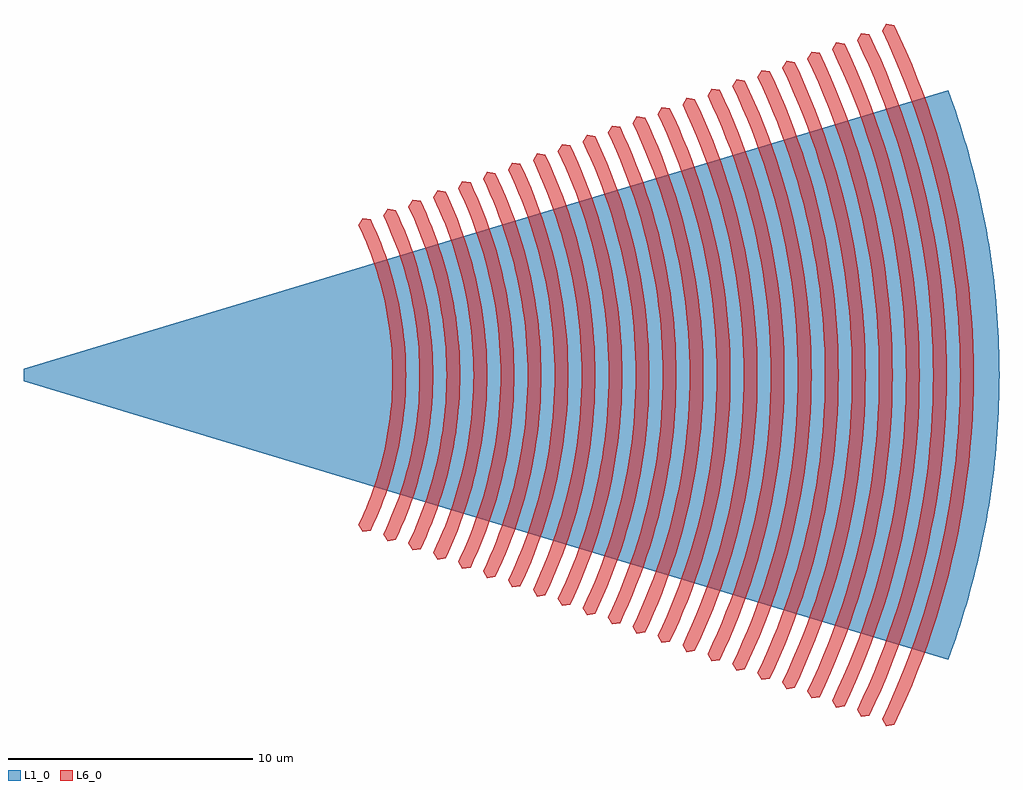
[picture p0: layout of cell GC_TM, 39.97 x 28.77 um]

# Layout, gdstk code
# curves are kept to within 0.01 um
import gdstk
lib = gdstk.Library(unit=1e-6, precision=1e-09)
def P(c, l, *ps):  # polygons
    for p in ps: c.add(gdstk.Polygon(p, *l))
L1_0 = (1, 0)
L6_0 = (6, 0)

gc_tm = lib.new_cell('GC_TM')
P(gc_tm, L1_0, [(37.87,-11.658),(0,-0.25),(0,0.25),(37.87,11.658),(38.359,10.249),(38.784,8.822),(39.146,7.377),(39.442,5.918),(39.673,4.449),(39.839,2.97),(39.938,1.486),(39.972,0),(39.938,-1.486),(39.839,-2.97),(39.673,-4.449),(39.442,-5.918),(39.146,-7.377),(38.784,-8.822),(38.359,-10.249)])
P(gc_tm, L6_0, [(13.893,-6.422),(13.719,-6.136),(14.03,-5.438),(14.384,-4.485),(14.67,-3.511),(14.838,-2.77),(14.966,-2.02),(15.054,-1.264),(15.102,-0.506),(15.11,0),(15.102,0.506),(15.054,1.264),(14.966,2.02),(14.838,2.77),(14.67,3.511),(14.384,4.485),(14.03,5.438),(13.719,6.136),(13.893,6.422),(14.223,6.372),(14.442,5.894),(14.738,5.159),(14.994,4.41),(15.142,3.904),(15.384,2.878),(15.518,2.098),(15.63,1.052),(15.668,0),(15.63,-1.052),(15.518,-2.098),(15.384,-2.878),(15.142,-3.904),(14.994,-4.41),(14.738,-5.159),(14.442,-5.894),(14.223,-6.372)],
  [(14.914,-6.802),(14.74,-6.516),(15.07,-5.774),(15.447,-4.762),(15.749,-3.728),(15.928,-2.941),(16.064,-2.144),(16.158,-1.343),(16.208,-0.537),(16.217,0),(16.208,0.537),(16.158,1.343),(16.064,2.144),(15.928,2.941),(15.749,3.728),(15.447,4.762),(15.07,5.774),(14.74,6.516),(14.914,6.802),(15.244,6.752),(15.476,6.244),(15.789,5.465),(16.061,4.672),(16.218,4.136),(16.356,3.595),(16.474,3.049),(16.616,2.224),(16.735,1.115),(16.775,0),(16.735,-1.115),(16.616,-2.224),(16.474,-3.049),(16.356,-3.595),(16.218,-4.136),(16.061,-4.672),(15.789,-5.465),(15.476,-6.244),(15.244,-6.752)],
  [(15.936,-7.181),(15.761,-6.896),(16.111,-6.11),(16.509,-5.039),(16.679,-4.496),(16.829,-3.945),(17.018,-3.112),(17.162,-2.269),(17.261,-1.421),(17.315,-0.569),(17.324,0),(17.315,0.569),(17.261,1.421),(17.162,2.269),(17.018,3.112),(16.829,3.945),(16.679,4.496),(16.509,5.039),(16.111,6.11),(15.761,6.896),(15.936,7.181),(16.267,7.13),(16.625,6.322),(16.841,5.772),(17.128,4.934),(17.294,4.367),(17.504,3.509),(17.619,2.93),(17.714,2.349),(17.84,1.177),(17.871,0.589),(17.882,0),(17.871,-0.589),(17.84,-1.177),(17.714,-2.349),(17.619,-2.93),(17.504,-3.509),(17.294,-4.367),(17.128,-4.934),(16.841,-5.772),(16.625,-6.322),(16.267,-7.13)],
  [(16.957,-7.56),(16.782,-7.275),(17.034,-6.723),(17.263,-6.166),(17.571,-5.317),(17.75,-4.743),(17.909,-4.162),(18.108,-3.283),(18.26,-2.394),(18.365,-1.499),(18.421,-0.6),(18.431,0),(18.421,0.6),(18.365,1.499),(18.26,2.394),(18.108,3.283),(17.909,4.162),(17.75,4.743),(17.571,5.317),(17.263,6.166),(17.034,6.723),(16.782,7.275),(16.957,7.56),(17.288,7.509),(17.666,6.658),(17.893,6.079),(18.195,5.197),(18.37,4.601),(18.591,3.695),(18.712,3.087),(18.812,2.474),(18.889,1.858),(18.944,1.24),(18.977,0.62),(18.989,0),(18.977,-0.62),(18.944,-1.24),(18.889,-1.858),(18.812,-2.474),(18.712,-3.087),(18.591,-3.695),(18.37,-4.601),(18.195,-5.197),(17.893,-6.079),(17.666,-6.658),(17.288,-7.509)],
  [(17.978,-7.939),(17.804,-7.653),(18.067,-7.073),(18.309,-6.487),(18.633,-5.594),(18.822,-4.99),(18.989,-4.379),(19.199,-3.454),(19.358,-2.52),(19.468,-1.577),(19.528,-0.631),(19.538,0),(19.528,0.631),(19.468,1.577),(19.358,2.52),(19.199,3.454),(18.989,4.379),(18.822,4.99),(18.633,5.594),(18.309,6.487),(18.067,7.073),(17.804,7.653),(17.978,7.939),(18.308,7.889),(18.579,7.295),(18.944,6.386),(19.262,5.459),(19.445,4.833),(19.606,4.2),(19.745,3.562),(19.91,2.598),(19.991,1.952),(20.049,1.302),(20.084,0.651),(20.096,0),(20.084,-0.651),(20.049,-1.302),(19.991,-1.952),(19.91,-2.598),(19.745,-3.562),(19.606,-4.2),(19.445,-4.833),(19.262,-5.459),(18.944,-6.386),(18.579,-7.295),(18.308,-7.889)],
  [(18.999,-8.318),(18.825,-8.032),(19.101,-7.424),(19.356,-6.809),(19.695,-5.871),(19.893,-5.237),(20.068,-4.596),(20.289,-3.625),(20.456,-2.644),(20.572,-1.655),(20.634,-0.663),(20.645,0),(20.634,0.663),(20.572,1.655),(20.456,2.644),(20.289,3.625),(20.068,4.596),(19.893,5.237),(19.695,5.871),(19.356,6.809),(19.101,7.424),(18.825,8.032),(18.999,8.318),(19.329,8.268),(19.613,7.646),(19.996,6.693),(20.329,5.721),(20.521,5.065),(20.69,4.402),(20.835,3.733),(21.008,2.724),(21.093,2.045),(21.154,1.365),(21.19,0.683),(21.203,0),(21.19,-0.683),(21.154,-1.365),(21.093,-2.045),(21.008,-2.724),(20.835,-3.733),(20.69,-4.402),(20.521,-5.065),(20.329,-5.721),(19.996,-6.693),(19.613,-7.646),(19.329,-8.268)],
  [(20.02,-8.697),(19.845,-8.412),(20.272,-7.454),(20.526,-6.805),(20.757,-6.148),(21.059,-5.15),(21.231,-4.476),(21.379,-3.797),(21.554,-2.769),(21.675,-1.734),(21.725,-1.041),(21.752,0),(21.725,1.041),(21.675,1.734),(21.554,2.769),(21.379,3.797),(21.231,4.476),(21.059,5.15),(20.757,6.148),(20.526,6.805),(20.272,7.454),(19.845,8.412),(20.02,8.697),(20.351,8.646),(20.501,8.323),(20.92,7.334),(21.17,6.662),(21.499,5.642),(21.688,4.951),(21.852,4.255),(21.992,3.553),(22.153,2.494),(22.259,1.427),(22.296,0.714),(22.31,0),(22.296,-0.714),(22.259,-1.427),(22.153,-2.494),(21.992,-3.553),(21.852,-4.255),(21.688,-4.951),(21.499,-5.642),(21.17,-6.662),(20.92,-7.334),(20.501,-8.323),(20.351,-8.646)],
  [(21.041,-9.076),(20.867,-8.79),(21.312,-7.79),(21.577,-7.112),(21.819,-6.425),(22.036,-5.731),(22.228,-5.03),(22.469,-3.968),(22.652,-2.894),(22.779,-1.812),(22.847,-0.725),(22.859,0),(22.847,0.725),(22.779,1.812),(22.652,2.894),(22.469,3.968),(22.228,5.03),(22.036,5.731),(21.819,6.425),(21.577,7.112),(21.312,7.79),(20.867,8.79),(21.041,9.076),(21.371,9.026),(21.68,8.347),(21.966,7.656),(22.227,6.954),(22.462,6.246),(22.768,5.168),(22.939,4.441),(23.085,3.71),(23.253,2.603),(23.364,1.49),(23.403,0.745),(23.417,0),(23.403,-0.745),(23.364,-1.49),(23.253,-2.603),(23.085,-3.71),(22.939,-4.441),(22.768,-5.168),(22.462,-6.246),(22.227,-6.954),(21.966,-7.656),(21.68,-8.347),(21.371,-9.026)],
  [(22.062,-9.455),(21.888,-9.169),(22.352,-8.126),(22.629,-7.419),(22.881,-6.703),(23.108,-5.979),(23.308,-5.247),(23.559,-4.139),(23.75,-3.018),(23.883,-1.89),(23.953,-0.756),(23.966,0),(23.953,0.756),(23.883,1.89),(23.75,3.018),(23.559,4.139),(23.308,5.247),(23.108,5.979),(22.881,6.703),(22.629,7.419),(22.352,8.126),(21.888,9.169),(22.062,9.455),(22.392,9.405),(22.715,8.697),(23.012,7.977),(23.284,7.246),(23.529,6.508),(23.848,5.385),(24.026,4.628),(24.178,3.865),(24.354,2.713),(24.468,1.553),(24.509,0.776),(24.524,0),(24.509,-0.776),(24.468,-1.553),(24.354,-2.713),(24.178,-3.865),(24.026,-4.628),(23.848,-5.385),(23.529,-6.508),(23.284,-7.246),(23.012,-7.977),(22.715,-8.697),(22.392,-9.405)],
  [(23.083,-9.834),(22.909,-9.548),(23.238,-8.826),(23.54,-8.095),(23.944,-6.98),(24.179,-6.226),(24.387,-5.464),(24.649,-4.31),(24.848,-3.143),(24.986,-1.968),(25.06,-0.788),(25.073,0),(25.06,0.788),(24.986,1.968),(24.848,3.143),(24.649,4.31),(24.387,5.464),(24.179,6.226),(23.944,6.98),(23.54,8.095),(23.238,8.826),(22.909,9.548),(23.083,9.834),(23.413,9.784),(23.748,9.048),(24.058,8.299),(24.341,7.539),(24.596,6.77),(24.927,5.602),(25.113,4.814),(25.271,4.021),(25.454,2.822),(25.573,1.615),(25.616,0.808),(25.631,0),(25.616,-0.808),(25.573,-1.615),(25.454,-2.822),(25.271,-4.021),(25.113,-4.814),(24.927,-5.602),(24.596,-6.77),(24.341,-7.539),(24.058,-8.299),(23.748,-9.048),(23.413,-9.784)],
  [(24.104,-10.213),(23.93,-9.927),(24.433,-8.798),(24.733,-8.032),(25.006,-7.257),(25.362,-6.079),(25.565,-5.283),(25.74,-4.481),(25.947,-3.268),(26.09,-2.046),(26.148,-1.229),(26.18,0),(26.148,1.229),(26.09,2.046),(25.947,3.268),(25.74,4.481),(25.565,5.283),(25.362,6.079),(25.006,7.257),(24.733,8.032),(24.433,8.798),(23.93,9.927),(24.104,10.213),(24.434,10.163),(24.782,9.398),(25.255,8.226),(25.534,7.433),(25.785,6.63),(26.007,5.819),(26.286,4.589),(26.435,3.763),(26.554,2.931),(26.678,1.678),(26.722,0.839),(26.738,0),(26.722,-0.839),(26.678,-1.678),(26.554,-2.931),(26.435,-3.763),(26.286,-4.589),(26.007,-5.819),(25.785,-6.63),(25.534,-7.433),(25.255,-8.226),(24.782,-9.398),(24.434,-10.163)],
  [(25.125,-10.592),(24.951,-10.306),(25.473,-9.134),(25.784,-8.339),(26.068,-7.534),(26.322,-6.721),(26.547,-5.898),(26.83,-4.652),(27.045,-3.394),(27.193,-2.124),(27.273,-0.85),(27.287,0),(27.273,0.85),(27.193,2.124),(27.045,3.394),(26.83,4.652),(26.547,5.898),(26.322,6.721),(26.068,7.534),(25.784,8.339),(25.473,9.134),(24.951,10.306),(25.125,10.592),(25.455,10.542),(25.817,9.749),(26.15,8.942),(26.455,8.123),(26.73,7.295),(27.087,6.036),(27.376,4.76),(27.531,3.903),(27.654,3.041),(27.783,1.74),(27.829,0.87),(27.845,0),(27.829,-0.87),(27.783,-1.74),(27.654,-3.041),(27.531,-3.903),(27.376,-4.76),(27.087,-6.036),(26.73,-7.295),(26.455,-8.123),(26.15,-8.942),(25.817,-9.749),(25.455,-10.542)],
  [(26.146,-10.972),(25.972,-10.686),(26.513,-9.47),(26.836,-8.646),(27.13,-7.811),(27.394,-6.968),(27.627,-6.115),(27.92,-4.823),(28.143,-3.517),(28.297,-2.203),(28.379,-0.882),(28.394,0),(28.379,0.882),(28.297,2.203),(28.143,3.517),(27.92,4.823),(27.627,6.115),(27.394,6.968),(27.13,7.811),(26.836,8.646),(26.513,9.47),(25.972,10.686),(26.146,10.972),(26.476,10.922),(26.851,10.099),(27.196,9.263),(27.512,8.414),(27.797,7.557),(28.167,6.253),(28.374,5.374),(28.55,4.488),(28.754,3.15),(28.887,1.803),(28.935,0.902),(28.952,0),(28.935,-0.902),(28.887,-1.803),(28.754,-3.15),(28.55,-4.488),(28.374,-5.374),(28.167,-6.253),(27.797,-7.557),(27.512,-8.414),(27.196,-9.263),(26.851,-10.099),(26.476,-10.922)],
  [(27.167,-11.351),(26.993,-11.065),(27.375,-10.228),(27.724,-9.38),(28.192,-8.089),(28.589,-6.775),(28.816,-5.888),(29.01,-4.995),(29.241,-3.643),(29.4,-2.281),(29.486,-0.913),(29.501,0),(29.486,0.913),(29.4,2.281),(29.241,3.643),(29.01,4.995),(28.816,5.888),(28.589,6.775),(28.192,8.089),(27.724,9.38),(27.375,10.228),(26.993,11.065),(27.167,11.351),(27.497,11.301),(27.885,10.45),(28.242,9.584),(28.569,8.707),(28.864,7.819),(29.246,6.47),(29.556,5.103),(29.722,4.184),(29.854,3.259),(29.992,1.865),(30.042,0.933),(30.059,0),(30.042,-0.933),(29.992,-1.865),(29.854,-3.259),(29.722,-4.184),(29.556,-5.103),(29.246,-6.47),(28.864,-7.819),(28.569,-8.707),(28.242,-9.584),(27.885,-10.45),(27.497,-11.301)],
  [(28.189,-11.73),(28.014,-11.445),(28.593,-10.142),(28.939,-9.26),(29.254,-8.366),(29.665,-7.007),(29.899,-6.09),(30.1,-5.166),(30.339,-3.767),(30.504,-2.359),(30.592,-0.944),(30.608,0),(30.592,0.944),(30.504,2.359),(30.339,3.767),(30.1,5.166),(29.899,6.09),(29.665,7.007),(29.254,8.366),(28.939,9.26),(28.593,10.142),(28.014,11.445),(28.189,11.73),(28.52,11.679),(28.92,10.8),(29.288,9.906),(29.626,9),(30.071,7.619),(30.326,6.687),(30.548,5.747),(30.736,4.8),(30.955,3.369),(31.097,1.928),(31.148,0.964),(31.166,0),(31.148,-0.964),(31.097,-1.928),(30.955,-3.369),(30.736,-4.8),(30.548,-5.747),(30.326,-6.687),(30.071,-7.619),(29.626,-9),(29.288,-9.906),(28.92,-10.8),(28.52,-11.679)],
  [(29.21,-12.109),(29.036,-11.823),(29.633,-10.478),(29.991,-9.566),(30.316,-8.643),(30.741,-7.239),(30.983,-6.292),(31.19,-5.337),(31.437,-3.892),(31.607,-2.437),(31.698,-0.976),(31.715,0),(31.698,0.976),(31.607,2.437),(31.437,3.892),(31.19,5.337),(30.983,6.292),(30.741,7.239),(30.316,8.643),(29.991,9.566),(29.633,10.478),(29.036,11.823),(29.21,12.109),(29.54,12.059),(30.149,10.69),(30.513,9.76),(30.844,8.819),(31.142,7.866),(31.406,6.904),(31.635,5.933),(31.829,4.955),(32.055,3.478),(32.202,1.991),(32.254,0.996),(32.273,0),(32.254,-0.996),(32.202,-1.991),(32.055,-3.478),(31.829,-4.955),(31.635,-5.933),(31.406,-6.904),(31.142,-7.866),(30.844,-8.819),(30.513,-9.76),(30.149,-10.69),(29.54,-12.059)],
  [(30.231,-12.488),(30.056,-12.203),(30.477,-11.279),(30.863,-10.345),(31.378,-8.92),(31.817,-7.471),(32.178,-6.002),(32.459,-4.515),(32.661,-3.017),(32.782,-1.51),(32.822,0),(32.782,1.51),(32.661,3.017),(32.459,4.515),(32.178,6.002),(31.817,7.471),(31.378,8.92),(30.863,10.345),(30.477,11.279),(30.056,12.203),(30.231,12.488),(30.562,12.437),(31.188,11.026),(31.565,10.067),(31.906,9.096),(32.214,8.113),(32.486,7.121),(32.722,6.12),(32.922,5.112),(33.155,3.587),(33.306,2.053),(33.361,1.027),(33.38,0),(33.361,-1.027),(33.306,-2.053),(33.155,-3.587),(32.922,-5.112),(32.722,-6.12),(32.486,-7.121),(32.214,-8.113),(31.906,-9.096),(31.565,-10.067),(31.188,-11.026),(30.562,-12.437)],
  [(31.252,-12.867),(31.078,-12.581),(31.51,-11.63),(31.909,-10.666),(32.44,-9.197),(32.892,-7.704),(33.15,-6.695),(33.371,-5.679),(33.633,-4.142),(33.814,-2.593),(33.888,-1.557),(33.929,0),(33.888,1.557),(33.814,2.593),(33.633,4.142),(33.371,5.679),(33.15,6.695),(32.892,7.704),(32.44,9.197),(31.909,10.666),(31.51,11.63),(31.078,12.581),(31.252,12.867),(31.582,12.817),(32.022,11.852),(32.228,11.362),(32.616,10.374),(32.968,9.373),(33.285,8.36),(33.565,7.338),(33.917,5.787),(34.105,4.745),(34.255,3.697),(34.317,3.171),(34.411,2.116),(34.467,1.058),(34.487,0),(34.467,-1.058),(34.411,-2.116),(34.317,-3.171),(34.255,-3.697),(34.105,-4.745),(33.917,-5.787),(33.565,-7.338),(33.285,-8.36),(32.968,-9.373),(32.616,-10.374),(32.228,-11.362),(32.022,-11.852),(31.582,-12.817)],
  [(32.273,-13.246),(32.099,-12.96),(32.544,-11.98),(32.955,-10.988),(33.503,-9.474),(33.968,-7.935),(34.352,-6.375),(34.651,-4.796),(34.865,-3.204),(34.918,-2.672),(34.994,-1.604),(35.018,-1.07),(35.036,0),(35.018,1.07),(34.994,1.604),(34.918,2.672),(34.865,3.204),(34.651,4.796),(34.352,6.375),(33.968,7.935),(33.503,9.474),(32.955,10.988),(32.544,11.98),(32.099,12.96),(32.273,13.246),(32.603,13.196),(33.056,12.202),(33.268,11.698),(33.668,10.681),(34.031,9.65),(34.356,8.608),(34.645,7.555),(34.896,6.493),(35.007,5.958),(35.201,4.886),(35.355,3.806),(35.419,3.264),(35.516,2.178),(35.574,1.09),(35.594,0),(35.574,-1.09),(35.516,-2.178),(35.419,-3.264),(35.355,-3.806),(35.201,-4.886),(35.007,-5.958),(34.896,-6.493),(34.645,-7.555),(34.356,-8.608),(34.031,-9.65),(33.668,-10.681),(33.268,-11.698),(33.056,-12.202),(32.603,-13.196)],
  [(33.294,-13.625),(33.12,-13.339),(33.355,-12.836),(33.795,-11.822),(34.198,-10.794),(34.565,-9.752),(34.894,-8.699),(35.044,-8.167),(35.317,-7.099),(35.439,-6.561),(35.746,-4.936),(35.967,-3.298),(36.021,-2.75),(36.099,-1.651),(36.139,-0.55),(36.143,0),(36.139,0.55),(36.099,1.651),(36.065,2.201),(35.967,3.298),(35.746,4.936),(35.439,6.561),(35.317,7.099),(35.044,8.167),(34.894,8.699),(34.565,9.752),(34.198,10.794),(33.795,11.822),(33.355,12.836),(33.12,13.339),(33.294,13.625),(33.624,13.575),(34.309,12.034),(34.72,10.988),(35.093,9.928),(35.428,8.855),(35.725,7.772),(35.859,7.227),(36.097,6.13),(36.296,5.026),(36.455,3.915),(36.521,3.358),(36.621,2.241),(36.68,1.121),(36.701,0),(36.68,-1.121),(36.621,-2.241),(36.521,-3.358),(36.455,-3.915),(36.296,-5.026),(36.097,-6.13),(35.859,-7.227),(35.725,-7.772),(35.428,-8.855),(35.093,-9.928),(34.72,-10.988),(34.309,-12.034),(33.624,-13.575)],
  [(34.315,-14.004),(34.141,-13.718),(34.835,-12.158),(35.249,-11.1),(35.627,-10.029),(36.12,-8.399),(36.526,-6.748),(36.747,-5.636),(36.842,-5.077),(37.004,-3.955),(37.069,-3.392),(37.125,-2.828),(37.205,-1.698),(37.231,-1.132),(37.25,0),(37.246,0.566),(37.205,1.698),(37.125,2.828),(37.069,3.392),(37.004,3.955),(36.842,5.077),(36.747,5.636),(36.526,6.748),(36.12,8.399),(35.627,10.029),(35.249,11.1),(34.835,12.158),(34.141,13.718),(34.315,14.004),(34.645,13.954),(34.889,13.431),(35.349,12.37),(35.771,11.294),(36.155,10.205),(36.499,9.103),(36.805,7.989),(37.07,6.866),(37.295,5.734),(37.479,4.596),(37.556,4.025),(37.623,3.452),(37.725,2.303),(37.787,1.152),(37.808,0),(37.787,-1.152),(37.761,-1.728),(37.679,-2.878),(37.556,-4.025),(37.479,-4.596),(37.295,-5.734),(37.07,-6.866),(36.805,-7.989),(36.499,-9.103),(36.155,-10.205),(35.771,-11.294),(35.349,-12.37),(34.889,-13.431),(34.645,-13.954)],
  [(35.336,-14.383),(35.162,-14.097),(35.41,-13.566),(35.875,-12.494),(36.301,-11.407),(36.689,-10.306),(37.037,-9.193),(37.195,-8.632),(37.345,-8.068),(37.613,-6.934),(37.84,-5.791),(37.938,-5.218),(38.104,-4.064),(38.171,-3.486),(38.228,-2.906),(38.311,-1.745),(38.353,-0.582),(38.357,0),(38.353,0.582),(38.311,1.745),(38.228,2.906),(38.171,3.486),(38.104,4.064),(37.938,5.218),(37.84,5.791),(37.613,6.934),(37.345,8.068),(37.195,8.632),(37.037,9.193),(36.689,10.306),(36.301,11.407),(35.875,12.494),(35.41,13.566),(35.162,14.097),(35.336,14.383),(35.666,14.333),(36.157,13.254),(36.389,12.706),(36.823,11.601),(37.217,10.482),(37.571,9.349),(37.885,8.206),(38.157,7.052),(38.388,5.891),(38.488,5.306),(38.656,4.134),(38.725,3.546),(38.83,2.366),(38.893,1.183),(38.915,0),(38.893,-1.183),(38.83,-2.366),(38.725,-3.546),(38.656,-4.134),(38.488,-5.306),(38.388,-5.891),(38.157,-7.052),(37.885,-8.206),(37.571,-9.349),(37.217,-10.482),(36.823,-11.601),(36.389,-12.706),(36.157,-13.254),(35.666,-14.333)])

lib.write_gds('GC_TM.gds')
